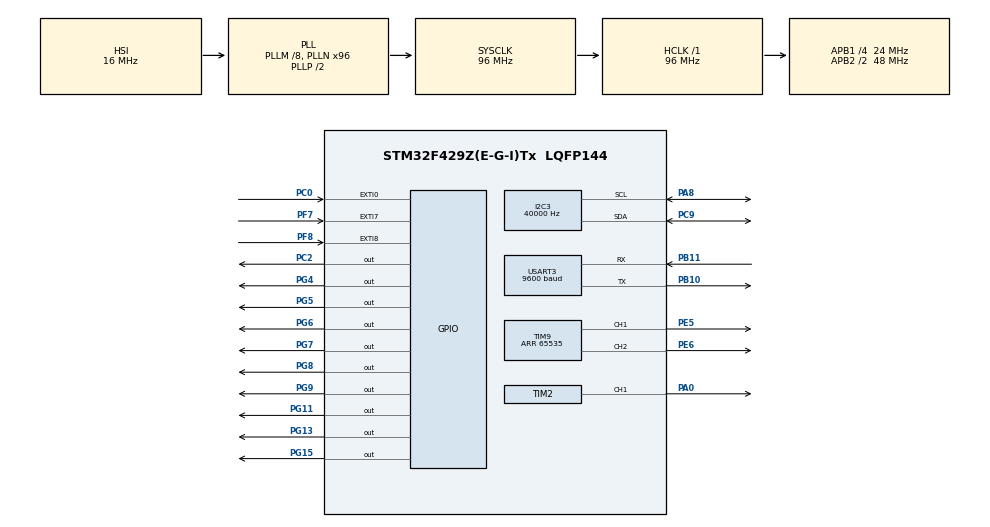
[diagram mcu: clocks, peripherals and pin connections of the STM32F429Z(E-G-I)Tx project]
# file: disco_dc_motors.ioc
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I2C3.ClockSpeed=40000
I2C3.OwnAddress=0x10
Mcu.Family=STM32F4
Mcu.Name=STM32F429Z(E-G-I)Tx
Mcu.Package=LQFP144
NVIC.EXTI0_IRQn=true\:0\:0\:false\:false\:true
NVIC.EXTI9_5_IRQn=true\:0\:0\:false\:false\:true
NVIC.I2C3_EV_IRQn=true\:0\:0\:false\:false\:true
NVIC.PriorityGroup=NVIC_PRIORITYGROUP_4
NVIC.TIM3_IRQn=true\:0\:0\:false\:false\:true
NVIC.TIM4_IRQn=true\:0\:0\:false\:false\:true
NVIC.USART3_IRQn=true\:0\:0\:false\:false\:true
PA0/WKUP.Signal=S_TIM2_CH1_ETR
PA8.GPIO_Mode=GPIO_MODE_AF_OD
PA8.GPIO_PuPdOD=GPIO_PULLUP
PA8.GPIO_Speed=GPIO_SPEED_FREQ_VERY_HIGH
PA8.Mode=I2C
PA8.Signal=I2C3_SCL
PB10.Mode=Asynchronous
PB10.Signal=USART3_TX
PB11.Mode=Asynchronous
PB11.Signal=USART3_RX
PC0.GPIO_ModeDefaultEXTI=GPIO_MODE_IT_RISING_FALLING
PC0.GPIO_PuPd=GPIO_PULLDOWN
PC0.Signal=GPXTI0
PC2.GPIO_PuPd=GPIO_PULLDOWN
PC2.GPIO_Speed=GPIO_SPEED_FREQ_VERY_HIGH
PC2.Signal=GPIO_Output
PC9.GPIO_Mode=GPIO_MODE_AF_OD
PC9.GPIO_PuPdOD=GPIO_PULLUP
PC9.GPIO_Speed=GPIO_SPEED_FREQ_VERY_HIGH
PC9.Mode=I2C
PC9.Signal=I2C3_SDA
PE5.GPIO_Speed=GPIO_SPEED_FREQ_VERY_HIGH
PE5.Signal=S_TIM9_CH1
PE6.GPIO_Speed=GPIO_SPEED_FREQ_VERY_HIGH
PE6.Signal=S_TIM9_CH2
PF7.GPIO_ModeDefaultEXTI=GPIO_MODE_IT_RISING
PF7.GPIO_PuPd=GPIO_PULLDOWN
PF7.Signal=GPXTI7
PF8.GPIO_ModeDefaultEXTI=GPIO_MODE_IT_RISING
PF8.GPIO_PuPd=GPIO_PULLDOWN
PF8.Signal=GPXTI8
PG11.Signal=GPIO_Output
PG13.Signal=GPIO_Output
PG15.Signal=GPIO_Output
PG4.Signal=GPIO_Output
PG5.Signal=GPIO_Output
PG6.Signal=GPIO_Output
PG7.Signal=GPIO_Output
PG8.Signal=GPIO_Output
PG9.Signal=GPIO_Output
PH0/OSC_IN.Mode=HSE-External-Oscillator
PH0/OSC_IN.Signal=RCC_OSC_IN
PH1/OSC_OUT.Mode=HSE-External-Oscillator
PH1/OSC_OUT.Signal=RCC_OSC_OUT
ProjectManager.HeapSize=0x200
ProjectManager.StackSize=0x400
ProjectManager.TargetToolchain=EWARM
RCC.48MHZClocksFreq_Value=48000000
RCC.AHBFreq_Value=96000000
RCC.APB1CLKDivider=RCC_HCLK_DIV4
RCC.APB1Freq_Value=24000000
RCC.APB1TimFreq_Value=48000000
RCC.APB2CLKDivider=RCC_HCLK_DIV2
RCC.APB2Freq_Value=48000000
RCC.APB2TimFreq_Value=96000000
RCC.CortexFreq_Value=96000000
RCC.HCLKFreq_Value=96000000
RCC.HSE_VALUE=8000000
RCC.HSI_VALUE=16000000
RCC.LSE_VALUE=32768
RCC.PLLM=8
RCC.PLLN=96
RCC.SYSCLKFreq_VALUE=96000000
RCC.SYSCLKSource=RCC_SYSCLKSOURCE_PLLCLK
RCC.VCOOutputFreq_Value=192000000
SH.S_TIM2_CH1_ETR.0=TIM2_CH1,PWM Generation1 CH1
SH.S_TIM9_CH1.0=TIM9_CH1,PWM Generation1 CH1
SH.S_TIM9_CH2.0=TIM9_CH2,PWM Generation2 CH2
TIM2.Period=65535
TIM2.Prescaler=6
TIM3.Period=10
TIM3.Prescaler=9
TIM3.TIM_MasterOutputTrigger=TIM_TRGO_RESET
TIM4.Period=65535
TIM4.Prescaler=29
TIM4.TIM_MasterOutputTrigger=TIM_TRGO_RESET
TIM9.Channel-PWM\ Generation2\ CH2=TIM_CHANNEL_2
TIM9.Period=65535
USART3.BaudRate=9600
VP_TIM3_VS_ClockSourceINT.Mode=Internal
VP_TIM4_VS_ClockSourceINT.Mode=Internal
board=disco_dc_motors

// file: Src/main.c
/**
  ******************************************************************************
  * File Name          : main.c
  * Description        : Main program body
  ******************************************************************************
  *
  * COPYRIGHT(c) 2017 STMicroelectronics
  *
  * Redistribution and use in source and binary forms, with or without modification,
  * are permitted provided that the following conditions are met:
  *   1. Redistributions of source code must retain the above copyright notice,
  *      this list of conditions and the following disclaimer.
  *   2. Redistributions in binary form must reproduce the above copyright notice,
  *      this list of conditions and the following disclaimer in the documentation
  *      and/or other materials provided with the distribution.
  *   3. Neither the name of STMicroelectronics nor the names of its contributors
  *      may be used to endorse or promote products derived from this software
  *      without specific prior written permission.
  *
  * THIS SOFTWARE IS PROVIDED BY THE COPYRIGHT HOLDERS AND CONTRIBUTORS "AS IS"
  * AND ANY EXPRESS OR IMPLIED WARRANTIES, INCLUDING, BUT NOT LIMITED TO, THE
  * IMPLIED WARRANTIES OF MERCHANTABILITY AND FITNESS FOR A PARTICULAR PURPOSE ARE
  * DISCLAIMED. IN NO EVENT SHALL THE COPYRIGHT HOLDER OR CONTRIBUTORS BE LIABLE
  * FOR ANY DIRECT, INDIRECT, INCIDENTAL, SPECIAL, EXEMPLARY, OR CONSEQUENTIAL
  * DAMAGES (INCLUDING, BUT NOT LIMITED TO, PROCUREMENT OF SUBSTITUTE GOODS OR
  * SERVICES; LOSS OF USE, DATA, OR PROFITS; OR BUSINESS INTERRUPTION) HOWEVER
  * CAUSED AND ON ANY THEORY OF LIABILITY, WHETHER IN CONTRACT, STRICT LIABILITY,
  * OR TORT (INCLUDING NEGLIGENCE OR OTHERWISE) ARISING IN ANY WAY OUT OF THE USE
  * OF THIS SOFTWARE, EVEN IF ADVISED OF THE POSSIBILITY OF SUCH DAMAGE.
  *
  ******************************************************************************
  */
#include "stm32f4xx_hal.h"

/* USER CODE BEGIN Includes */

#include "motors.h"
#include "defines.h"

#include "stm32f4xx.h"
#include "stm32f4xx_hal.h"

//#include <stdint.h>
//#include <stdio.h>
//#include <string.h>

#include "I2Cdev.h"
#include "MPU6050.h"

/* USER CODE END Includes */

I2C_HandleTypeDef hi2c3;

TIM_HandleTypeDef htim2;
TIM_HandleTypeDef htim3;
TIM_HandleTypeDef htim4;
TIM_HandleTypeDef htim9;

UART_HandleTypeDef huart3;

/* USER CODE BEGIN PV */
/* Private variables ---------------------------------------------------------*/

uint32_t USEchoDistance;

int16_t ax, ay, az;
int16_t gx, gy, gz;

int16_t c_ax, c_ay, c_az;
int16_t c_gx, c_gy, c_gz;

/* USER CODE END PV */

void SystemClock_Config(void);
void Error_Handler(void);
static void MX_GPIO_Init(void);
static void MX_USART3_UART_Init(void);
static void MX_TIM9_Init(void);
static void MX_TIM3_Init(void);
static void MX_TIM4_Init(void);
static void MX_I2C3_Init(void);
static void MX_TIM2_Init(void);

void HAL_TIM_MspPostInit(TIM_HandleTypeDef *htim);

/* USER CODE BEGIN PFP */
/* Private function prototypes -----------------------------------------------*/

int MT_HIGH_SPEED = 65535;
int MT_MEDIUM_SPEED = 35000;
int MT_LOW_SPEED = 25000;
int MT_NO_SPEED = 0;

uint16_t SERVO_0 = 3900;
uint16_t SERVO_180 = 18000;

uint16_t SERVO_center = 10950;
uint16_t SERVO_right = 3900;
uint16_t SERVO_left = 18000;
uint16_t SERVO_current_pos;
uint32_t SERVO_step;

void move_forward(int motorsSpeedLevel);
void move_backward(int motorsSpeedLevel);
void turn_right(int motorsSpeedLevel);
void turn_left(int motorsSpeedLevel);
void motors_stop(void);

void head_turn_right(uint16_t angle);
void head_turn_left(uint16_t angle);
void set_pos(uint16_t pos);

/* USER CODE END PFP */

int main(void)
{

  SERVO_current_pos = SERVO_center;
  SERVO_step = (SERVO_left - SERVO_right) / 180;
  printf("\n\n step:  \t%d \n", SERVO_step);

  /* MCU Configuration----------------------------------------------------------*/

  /* Reset of all peripherals, Initializes the Flash interface and the Systick. */
  HAL_Init();

  /* Configure the system clock */
  SystemClock_Config();

  /* Initialize all configured peripherals */
  MX_GPIO_Init();
  MX_USART3_UART_Init();
  MX_TIM9_Init();
  MX_TIM3_Init();
  MX_TIM4_Init();
  MX_I2C3_Init();
  MX_TIM2_Init();

  /* USER CODE BEGIN 2 */

  HAL_TIM_Base_Start_IT(&htim9);
  HAL_TIM_PWM_Start(&htim9, TIM_CHANNEL_1);
  HAL_TIM_PWM_Start(&htim9, TIM_CHANNEL_2);

  HAL_TIM_Base_Start_IT(&htim2);
  HAL_TIM_PWM_Start(&htim2, TIM_CHANNEL_1);

  uint8_t btData = 0;
  HAL_UART_Receive_IT(&huart3, &btData, 1);

  int16_t ax, ay, az;
  int16_t gx, gy, gz;

  int16_t c_ax, c_ay, c_az;
  int16_t c_gx, c_gy, c_gz;

  MPU6050_initialize();
  MPU6050_setFullScaleGyroRange(MPU6050_GYRO_FS_250);
  MPU6050_setFullScaleAccelRange(MPU6050_ACCEL_FS_2);

  I2Cdev_hi2c = &hi2c3;

  MPU6050_getMotion6(&c_ax, &c_ay, &c_az, &c_gx, &c_gy, &c_gz);

  /* USER CODE END 2 */

  /* Infinite loop */
  /* USER CODE BEGIN WHILE */

  // Servo block start

  while(1) {

    SERVO_current_pos = SERVO_center;
    TIM2->CCR1 = SERVO_center;
    HAL_Delay(1000);

    for (int i=0; i<=18; i++) {
      head_turn_right(5);
      HAL_Delay(100);
    }
    for (int i=0; i<=36; i++) {
      head_turn_left(5);
      HAL_Delay(100);
    }
    for (int i=0; i<=18; i++) {
      head_turn_right(5);
      HAL_Delay(100);
    }

  }

  // Servo block end

  while (1)
  {

  /* USER CODE END WHILE */

  /* USER CODE BEGIN 3 */

    HAL_Delay(50);

    /* UltraSonic Sensor Start */

    __HAL_TIM_SET_COUNTER(&htim3, 0);
    HAL_GPIO_WritePin(GPIOC, GPIO_PIN_2, GPIO_PIN_SET);
    HAL_TIM_Base_Start_IT(&htim3);

    HAL_Delay(10);
    //printf("\n\nDist:  \t%d \n", USEchoDistance);

    /* UltraSonic Sensor End */

    /* BlueTooth and motors part */

    if(huart3.RxXferCount == 0) {

      if (btData == 49) {
        move_forward(MT_MEDIUM_SPEED);
      }
      else if (btData == 50) move_backward(MT_HIGH_SPEED);
      else if (btData == 51) turn_right(MT_LOW_SPEED);
      else if (btData == 52) turn_left(MT_LOW_SPEED);
      else motors_stop();

      //printf("BT: \t%d\n", btData);

      btData = 0;

    }

    /*
    if (USEchoDistance <= 300) {
      motors_stop();
    }
    */

    HAL_UART_Receive_IT(&huart3, &btData, 1);

    /* BlueTooth and motors part end */

    MPU6050_getMotion6(&ax, &ay, &az, &gx, &gy, &gz);

    //printf("Accel: \t%d    %d    %d\n", ax - c_ax, ay - c_ay, az - c_az);
    //printf("Gyro:  \t%d    %d    %d\n", gx - c_gx, gy - c_gy, gz - c_gz);

    HAL_Delay(50);

  }
  /* USER CODE END 3 */

}

/** System Clock Configuration
*/
void SystemClock_Config(void)
{

  RCC_OscInitTypeDef RCC_OscInitStruct;
  RCC_ClkInitTypeDef RCC_ClkInitStruct;

  __HAL_RCC_PWR_CLK_ENABLE();

  __HAL_PWR_VOLTAGESCALING_CONFIG(PWR_REGULATOR_VOLTAGE_SCALE3);

  RCC_OscInitStruct.OscillatorType = RCC_OSCILLATORTYPE_HSI;
  RCC_OscInitStruct.HSIState = RCC_HSI_ON;
  RCC_OscInitStruct.HSICalibrationValue = 16;
  RCC_OscInitStruct.PLL.PLLState = RCC_PLL_ON;
  RCC_OscInitStruct.PLL.PLLSource = RCC_PLLSOURCE_HSI;
  RCC_OscInitStruct.PLL.PLLM = 8;
  RCC_OscInitStruct.PLL.PLLN = 96;
  RCC_OscInitStruct.PLL.PLLP = RCC_PLLP_DIV2;
  RCC_OscInitStruct.PLL.PLLQ = 4;
  if (HAL_RCC_OscConfig(&RCC_OscInitStruct) != HAL_OK)
  {
    Error_Handler();
  }

  RCC_ClkInitStruct.ClockType = RCC_CLOCKTYPE_HCLK|RCC_CLOCKTYPE_SYSCLK
                              |RCC_CLOCKTYPE_PCLK1|RCC_CLOCKTYPE_PCLK2;
  RCC_ClkInitStruct.SYSCLKSource = RCC_SYSCLKSOURCE_PLLCLK;
  RCC_ClkInitStruct.AHBCLKDivider = RCC_SYSCLK_DIV1;
  RCC_ClkInitStruct.APB1CLKDivider = RCC_HCLK_DIV4;
  RCC_ClkInitStruct.APB2CLKDivider = RCC_HCLK_DIV2;
  if (HAL_RCC_ClockConfig(&RCC_ClkInitStruct, FLASH_LATENCY_3) != HAL_OK)
  {
    Error_Handler();
  }

  HAL_SYSTICK_Config(HAL_RCC_GetHCLKFreq()/1000);

  HAL_SYSTICK_CLKSourceConfig(SYSTICK_CLKSOURCE_HCLK);

  /* SysTick_IRQn interrupt configuration */
  HAL_NVIC_SetPriority(SysTick_IRQn, 0, 0);
}

/* I2C3 init function */
static void MX_I2C3_Init(void)
{

  hi2c3.Instance = I2C3;
  hi2c3.Init.ClockSpeed = 40000;
  hi2c3.Init.DutyCycle = I2C_DUTYCYCLE_2;
  hi2c3.Init.OwnAddress1 = 32;
  hi2c3.Init.AddressingMode = I2C_ADDRESSINGMODE_7BIT;
  hi2c3.Init.DualAddressMode = I2C_DUALADDRESS_DISABLE;
  hi2c3.Init.OwnAddress2 = 0;
  hi2c3.Init.GeneralCallMode = I2C_GENERALCALL_DISABLE;
  hi2c3.Init.NoStretchMode = I2C_NOSTRETCH_DISABLE;
  if (HAL_I2C_Init(&hi2c3) != HAL_OK)
  {
    Error_Handler();
  }

}

/* TIM2 init function */
static void MX_TIM2_Init(void)
{

  TIM_MasterConfigTypeDef sMasterConfig;
  TIM_OC_InitTypeDef sConfigOC;

  htim2.Instance = TIM2;
  htim2.Init.Prescaler = 6;
  htim2.Init.CounterMode = TIM_COUNTERMODE_UP;
  htim2.Init.Period = 65535;
  htim2.Init.ClockDivision = TIM_CLOCKDIVISION_DIV1;
  if (HAL_TIM_PWM_Init(&htim2) != HAL_OK)
  {
    Error_Handler();
  }

  sMasterConfig.MasterOutputTrigger = TIM_TRGO_RESET;
  sMasterConfig.MasterSlaveMode = TIM_MASTERSLAVEMODE_DISABLE;
  if (HAL_TIMEx_MasterConfigSynchronization(&htim2, &sMasterConfig) != HAL_OK)
  {
    Error_Handler();
  }

  sConfigOC.OCMode = TIM_OCMODE_PWM1;
  sConfigOC.Pulse = 0;
  sConfigOC.OCPolarity = TIM_OCPOLARITY_HIGH;
  sConfigOC.OCFastMode = TIM_OCFAST_DISABLE;
  if (HAL_TIM_PWM_ConfigChannel(&htim2, &sConfigOC, TIM_CHANNEL_1) != HAL_OK)
  {
    Error_Handler();
  }

  HAL_TIM_MspPostInit(&htim2);

}

/* TIM3 init function */
static void MX_TIM3_Init(void)
{

  TIM_ClockConfigTypeDef sClockSourceConfig;
  TIM_MasterConfigTypeDef sMasterConfig;

  htim3.Instance = TIM3;
  htim3.Init.Prescaler = 9;
  htim3.Init.CounterMode = TIM_COUNTERMODE_UP;
  htim3.Init.Period = 10;
  htim3.Init.ClockDivision = TIM_CLOCKDIVISION_DIV1;
  if (HAL_TIM_Base_Init(&htim3) != HAL_OK)
  {
    Error_Handler();
  }

  sClockSourceConfig.ClockSource = TIM_CLOCKSOURCE_INTERNAL;
  if (HAL_TIM_ConfigClockSource(&htim3, &sClockSourceConfig) != HAL_OK)
  {
    Error_Handler();
  }

  sMasterConfig.MasterOutputTrigger = TIM_TRGO_RESET;
  sMasterConfig.MasterSlaveMode = TIM_MASTERSLAVEMODE_DISABLE;
  if (HAL_TIMEx_MasterConfigSynchronization(&htim3, &sMasterConfig) != HAL_OK)
  {
    Error_Handler();
  }

}

/* TIM4 init function */
static void MX_TIM4_Init(void)
{

  TIM_ClockConfigTypeDef sClockSourceConfig;
  TIM_MasterConfigTypeDef sMasterConfig;

  htim4.Instance = TIM4;
  htim4.Init.Prescaler = 29;
  htim4.Init.CounterMode = TIM_COUNTERMODE_UP;
  htim4.Init.Period = 65535;
  htim4.Init.ClockDivision = TIM_CLOCKDIVISION_DIV1;
  if (HAL_TIM_Base_Init(&htim4) != HAL_OK)
  {
    Error_Handler();
  }

  sClockSourceConfig.ClockSource = TIM_CLOCKSOURCE_INTERNAL;
  if (HAL_TIM_ConfigClockSource(&htim4, &sClockSourceConfig) != HAL_OK)
  {
    Error_Handler();
  }

  sMasterConfig.MasterOutputTrigger = TIM_TRGO_RESET;
  sMasterConfig.MasterSlaveMode = TIM_MASTERSLAVEMODE_DISABLE;
  if (HAL_TIMEx_MasterConfigSynchronization(&htim4, &sMasterConfig) != HAL_OK)
  {
    Error_Handler();
  }

}

/* TIM9 init function */
static void MX_TIM9_Init(void)
{

  TIM_OC_InitTypeDef sConfigOC;

  htim9.Instance = TIM9;
  htim9.Init.Prescaler = 0;
  htim9.Init.CounterMode = TIM_COUNTERMODE_UP;
  htim9.Init.Period = 65535;
  htim9.Init.ClockDivision = TIM_CLOCKDIVISION_DIV1;
  if (HAL_TIM_PWM_Init(&htim9) != HAL_OK)
  {
    Error_Handler();
  }

  sConfigOC.OCMode = TIM_OCMODE_PWM1;
  sConfigOC.Pulse = 0;
  sConfigOC.OCPolarity = TIM_OCPOLARITY_HIGH;
  sConfigOC.OCFastMode = TIM_OCFAST_DISABLE;
  if (HAL_TIM_PWM_ConfigChannel(&htim9, &sConfigOC, TIM_CHANNEL_1) != HAL_OK)
  {
    Error_Handler();
  }

  if (HAL_TIM_PWM_ConfigChannel(&htim9, &sConfigOC, TIM_CHANNEL_2) != HAL_OK)
  {
    Error_Handler();
  }

  HAL_TIM_MspPostInit(&htim9);

}

/* USART3 init function */
static void MX_USART3_UART_Init(void)
{

  huart3.Instance = USART3;
  huart3.Init.BaudRate = 9600;
  huart3.Init.WordLength = UART_WORDLENGTH_8B;
  huart3.Init.StopBits = UART_STOPBITS_1;
  huart3.Init.Parity = UART_PARITY_NONE;
  huart3.Init.Mode = UART_MODE_TX_RX;
  huart3.Init.HwFlowCtl = UART_HWCONTROL_NONE;
  huart3.Init.OverSampling = UART_OVERSAMPLING_16;
  if (HAL_UART_Init(&huart3) != HAL_OK)
  {
    Error_Handler();
  }

}

/** Configure pins as
        * Analog
        * Input
        * Output
        * EVENT_OUT
        * EXTI
*/
static void MX_GPIO_Init(void)
{

  GPIO_InitTypeDef GPIO_InitStruct;

  /* GPIO Ports Clock Enable */
  __HAL_RCC_GPIOE_CLK_ENABLE();
  __HAL_RCC_GPIOF_CLK_ENABLE();
  __HAL_RCC_GPIOH_CLK_ENABLE();
  __HAL_RCC_GPIOC_CLK_ENABLE();
  __HAL_RCC_GPIOA_CLK_ENABLE();
  __HAL_RCC_GPIOB_CLK_ENABLE();
  __HAL_RCC_GPIOG_CLK_ENABLE();

  /*Configure GPIO pins : PF7 PF8 */
  GPIO_InitStruct.Pin = GPIO_PIN_7|GPIO_PIN_8;
  GPIO_InitStruct.Mode = GPIO_MODE_IT_RISING;
  GPIO_InitStruct.Pull = GPIO_PULLDOWN;
  HAL_GPIO_Init(GPIOF, &GPIO_InitStruct);

  /*Configure GPIO pin : PC0 */
  GPIO_InitStruct.Pin = GPIO_PIN_0;
  GPIO_InitStruct.Mode = GPIO_MODE_IT_RISING_FALLING;
  GPIO_InitStruct.Pull = GPIO_PULLDOWN;
  HAL_GPIO_Init(GPIOC, &GPIO_InitStruct);

  /*Configure GPIO pin : PC2 */
  GPIO_InitStruct.Pin = GPIO_PIN_2;
  GPIO_InitStruct.Mode = GPIO_MODE_OUTPUT_PP;
  GPIO_InitStruct.Pull = GPIO_PULLDOWN;
  GPIO_InitStruct.Speed = GPIO_SPEED_FREQ_VERY_HIGH;
  HAL_GPIO_Init(GPIOC, &GPIO_InitStruct);

  /*Configure GPIO pins : PG4 PG5 PG6 PG7
                           PG8 PG9 PG11 PG13
                           PG15 */
  GPIO_InitStruct.Pin = GPIO_PIN_4|GPIO_PIN_5|GPIO_PIN_6|GPIO_PIN_7
                          |GPIO_PIN_8|GPIO_PIN_9|GPIO_PIN_11|GPIO_PIN_13
                          |GPIO_PIN_15;
  GPIO_InitStruct.Mode = GPIO_MODE_OUTPUT_PP;
  GPIO_InitStruct.Pull = GPIO_NOPULL;
  GPIO_InitStruct.Speed = GPIO_SPEED_FREQ_LOW;
  HAL_GPIO_Init(GPIOG, &GPIO_InitStruct);

  /*Configure GPIO pin Output Level */
  HAL_GPIO_WritePin(GPIOC, GPIO_PIN_2, GPIO_PIN_RESET);

  /*Configure GPIO pin Output Level */
  HAL_GPIO_WritePin(GPIOG, GPIO_PIN_4|GPIO_PIN_5|GPIO_PIN_6|GPIO_PIN_7
                          |GPIO_PIN_8|GPIO_PIN_9|GPIO_PIN_11|GPIO_PIN_13
                          |GPIO_PIN_15, GPIO_PIN_RESET);

  /* EXTI interrupt init*/
  HAL_NVIC_SetPriority(EXTI0_IRQn, 0, 0);
  HAL_NVIC_EnableIRQ(EXTI0_IRQn);

  HAL_NVIC_SetPriority(EXTI9_5_IRQn, 0, 0);
  HAL_NVIC_EnableIRQ(EXTI9_5_IRQn);

}

/* USER CODE BEGIN 4 */

void move_forward(int motorsSpeedLevel) {

  motors_stop();

  HAL_Delay(100);

  TIM9->CCR1=motorsSpeedLevel;
  TIM9->CCR2=motorsSpeedLevel;

  HAL_GPIO_WritePin(GPIOG, GPIO_PIN_9|GPIO_PIN_15, GPIO_PIN_SET);
  HAL_GPIO_WritePin(GPIOG, GPIO_PIN_11|GPIO_PIN_13, GPIO_PIN_RESET);

}

void move_backward(int motorsSpeedLevel) {

  motors_stop();

  HAL_Delay(50);

  TIM9->CCR1=motorsSpeedLevel;
  TIM9->CCR2=motorsSpeedLevel;

  HAL_GPIO_WritePin(GPIOG, GPIO_PIN_9|GPIO_PIN_15, GPIO_PIN_RESET);
  HAL_GPIO_WritePin(GPIOG, GPIO_PIN_11|GPIO_PIN_13, GPIO_PIN_SET);
}

void motors_stop(void) {

  TIM9->CCR1=MT_NO_SPEED;
  TIM9->CCR2=MT_NO_SPEED;

  HAL_GPIO_WritePin(GPIOG,
                    GPIO_PIN_9|GPIO_PIN_11|GPIO_PIN_13|GPIO_PIN_15,
                    GPIO_PIN_RESET);
}

void turn_right(int motorsSpeedLevel) {

  motors_stop();

  HAL_Delay(50);

  HAL_GPIO_WritePin(GPIOG, GPIO_PIN_9|GPIO_PIN_13, GPIO_PIN_SET);
  HAL_GPIO_WritePin(GPIOG, GPIO_PIN_11|GPIO_PIN_15, GPIO_PIN_RESET);

  TIM9->CCR1=MT_HIGH_SPEED;
  TIM9->CCR2=MT_HIGH_SPEED;

  HAL_Delay(100);

  TIM9->CCR1=motorsSpeedLevel;
  TIM9->CCR2=motorsSpeedLevel;

}

void turn_left(int motorsSpeedLevel) {

  motors_stop();

  HAL_Delay(50);

  HAL_GPIO_WritePin(GPIOG, GPIO_PIN_9|GPIO_PIN_13, GPIO_PIN_RESET);
  HAL_GPIO_WritePin(GPIOG, GPIO_PIN_11|GPIO_PIN_15, GPIO_PIN_SET);

  TIM9->CCR1=MT_HIGH_SPEED;
  TIM9->CCR2=MT_HIGH_SPEED;

  HAL_Delay(100);

  TIM9->CCR1=motorsSpeedLevel;
  TIM9->CCR2=motorsSpeedLevel;
}

void set_pos(uint16_t pos) {
  printf("\nStep%d:   \t%d \n", pos, SERVO_0 + SERVO_step * pos);
  TIM2->CCR1 = SERVO_0 + SERVO_step * pos;
}

void head_turn_right(uint16_t angle) {
  uint16_t tmp = SERVO_current_pos - angle * SERVO_step;
  if (tmp >= SERVO_right) {
    SERVO_current_pos = tmp;
    TIM2->CCR1 = SERVO_current_pos;
  }
}

void head_turn_left(uint16_t angle) {
  uint16_t tmp = SERVO_current_pos + angle * SERVO_step;
  if (tmp <= SERVO_left) {
    SERVO_current_pos = tmp;
    TIM2->CCR1 = SERVO_current_pos;
  }
}

/* USER CODE END 4 */

void Error_Handler(void)
{
  while(1)
  {
  }
}

/************************ (C) COPYRIGHT STMicroelectronics *****END OF FILE****/
